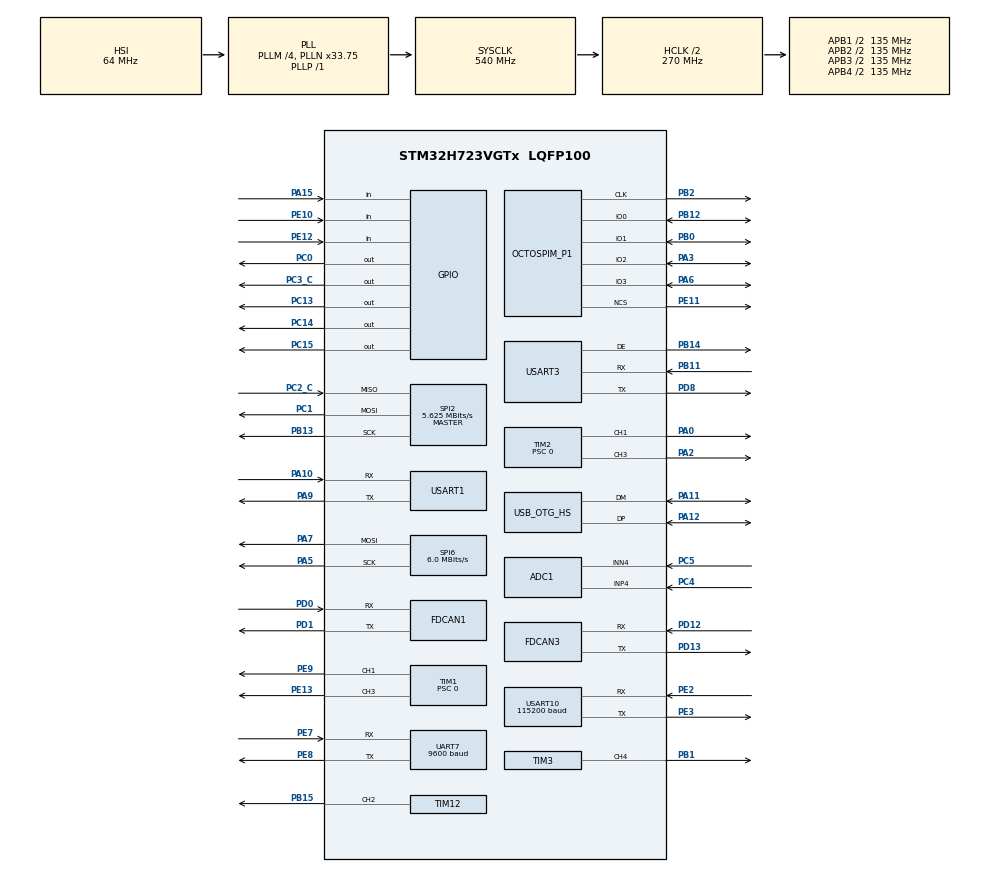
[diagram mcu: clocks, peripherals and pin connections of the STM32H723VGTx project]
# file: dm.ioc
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ADC1.Channel-0\#ChannelRegularConversion=ADC_CHANNEL_4
ADC1.NbrOfConversionFlag=1
ADC1.OffsetNumber-0\#ChannelRegularConversion=ADC_OFFSET_NONE
ADC1.OffsetSignedSaturation-0\#ChannelRegularConversion=DISABLE
ADC1.Rank-0\#ChannelRegularConversion=1
ADC1.SamplingTime-0\#ChannelRegularConversion=ADC_SAMPLETIME_1CYCLE_5
ADC1.ScanConvMode-ADC_Settings=ADC_SCAN_ENABLE
ADC1.SingleDiff-0\#ChannelRegularConversion=ADC_DIFFERENTIAL_ENDED
ADC1.master=1
CORTEX_M7.default_mode_Activation=1
Dma.Request0=TIM1_CH1
Dma.Request1=TIM1_CH3
Dma.Request2=TIM2_CH1
Dma.Request3=TIM2_CH3
Dma.TIM1_CH1.0.Direction=DMA_MEMORY_TO_PERIPH
Dma.TIM1_CH1.0.EventEnable=DISABLE
Dma.TIM1_CH1.0.FIFOMode=DMA_FIFOMODE_ENABLE
Dma.TIM1_CH1.0.FIFOThreshold=DMA_FIFO_THRESHOLD_FULL
Dma.TIM1_CH1.0.Instance=DMA1_Stream0
Dma.TIM1_CH1.0.MemBurst=DMA_MBURST_SINGLE
Dma.TIM1_CH1.0.MemDataAlignment=DMA_MDATAALIGN_WORD
Dma.TIM1_CH1.0.MemInc=DMA_MINC_ENABLE
Dma.TIM1_CH1.0.Mode=DMA_NORMAL
Dma.TIM1_CH1.0.PeriphBurst=DMA_PBURST_SINGLE
Dma.TIM1_CH1.0.PeriphDataAlignment=DMA_PDATAALIGN_WORD
Dma.TIM1_CH1.0.PeriphInc=DMA_PINC_DISABLE
Dma.TIM1_CH1.0.Polarity=HAL_DMAMUX_REQ_GEN_RISING
Dma.TIM1_CH1.0.Priority=DMA_PRIORITY_LOW
Dma.TIM1_CH1.0.RequestNumber=1
Dma.TIM1_CH1.0.SignalID=NONE
Dma.TIM1_CH1.0.SyncEnable=DISABLE
Dma.TIM1_CH1.0.SyncPolarity=HAL_DMAMUX_SYNC_NO_EVENT
Dma.TIM1_CH1.0.SyncRequestNumber=1
Dma.TIM1_CH1.0.SyncSignalID=NONE
Dma.TIM1_CH3.1.Direction=DMA_MEMORY_TO_PERIPH
Dma.TIM1_CH3.1.EventEnable=DISABLE
Dma.TIM1_CH3.1.FIFOMode=DMA_FIFOMODE_ENABLE
Dma.TIM1_CH3.1.FIFOThreshold=DMA_FIFO_THRESHOLD_FULL
Dma.TIM1_CH3.1.Instance=DMA1_Stream1
Dma.TIM1_CH3.1.MemBurst=DMA_MBURST_SINGLE
Dma.TIM1_CH3.1.MemDataAlignment=DMA_MDATAALIGN_WORD
Dma.TIM1_CH3.1.MemInc=DMA_MINC_ENABLE
Dma.TIM1_CH3.1.Mode=DMA_NORMAL
Dma.TIM1_CH3.1.PeriphBurst=DMA_PBURST_SINGLE
Dma.TIM1_CH3.1.PeriphDataAlignment=DMA_PDATAALIGN_WORD
Dma.TIM1_CH3.1.PeriphInc=DMA_PINC_DISABLE
Dma.TIM1_CH3.1.Polarity=HAL_DMAMUX_REQ_GEN_RISING
Dma.TIM1_CH3.1.Priority=DMA_PRIORITY_LOW
Dma.TIM1_CH3.1.RequestNumber=1
Dma.TIM1_CH3.1.SignalID=NONE
Dma.TIM1_CH3.1.SyncEnable=DISABLE
Dma.TIM1_CH3.1.SyncPolarity=HAL_DMAMUX_SYNC_NO_EVENT
Dma.TIM1_CH3.1.SyncRequestNumber=1
Dma.TIM1_CH3.1.SyncSignalID=NONE
Dma.TIM2_CH1.2.Direction=DMA_MEMORY_TO_PERIPH
Dma.TIM2_CH1.2.EventEnable=DISABLE
Dma.TIM2_CH1.2.FIFOMode=DMA_FIFOMODE_ENABLE
Dma.TIM2_CH1.2.FIFOThreshold=DMA_FIFO_THRESHOLD_FULL
Dma.TIM2_CH1.2.Instance=DMA1_Stream2
Dma.TIM2_CH1.2.MemBurst=DMA_MBURST_SINGLE
Dma.TIM2_CH1.2.MemDataAlignment=DMA_MDATAALIGN_WORD
Dma.TIM2_CH1.2.MemInc=DMA_MINC_ENABLE
Dma.TIM2_CH1.2.Mode=DMA_NORMAL
Dma.TIM2_CH1.2.PeriphBurst=DMA_PBURST_SINGLE
Dma.TIM2_CH1.2.PeriphDataAlignment=DMA_PDATAALIGN_WORD
Dma.TIM2_CH1.2.PeriphInc=DMA_PINC_DISABLE
Dma.TIM2_CH1.2.Polarity=HAL_DMAMUX_REQ_GEN_RISING
Dma.TIM2_CH1.2.Priority=DMA_PRIORITY_LOW
Dma.TIM2_CH1.2.RequestNumber=1
Dma.TIM2_CH1.2.SignalID=NONE
Dma.TIM2_CH1.2.SyncEnable=DISABLE
Dma.TIM2_CH1.2.SyncPolarity=HAL_DMAMUX_SYNC_NO_EVENT
Dma.TIM2_CH1.2.SyncRequestNumber=1
Dma.TIM2_CH1.2.SyncSignalID=NONE
Dma.TIM2_CH3.3.Direction=DMA_MEMORY_TO_PERIPH
Dma.TIM2_CH3.3.EventEnable=DISABLE
Dma.TIM2_CH3.3.FIFOMode=DMA_FIFOMODE_ENABLE
Dma.TIM2_CH3.3.FIFOThreshold=DMA_FIFO_THRESHOLD_FULL
Dma.TIM2_CH3.3.Instance=DMA1_Stream3
Dma.TIM2_CH3.3.MemBurst=DMA_MBURST_SINGLE
Dma.TIM2_CH3.3.MemDataAlignment=DMA_MDATAALIGN_WORD
Dma.TIM2_CH3.3.MemInc=DMA_MINC_ENABLE
Dma.TIM2_CH3.3.Mode=DMA_NORMAL
Dma.TIM2_CH3.3.PeriphBurst=DMA_PBURST_SINGLE
Dma.TIM2_CH3.3.PeriphDataAlignment=DMA_PDATAALIGN_WORD
Dma.TIM2_CH3.3.PeriphInc=DMA_PINC_DISABLE
Dma.TIM2_CH3.3.Polarity=HAL_DMAMUX_REQ_GEN_RISING
Dma.TIM2_CH3.3.Priority=DMA_PRIORITY_LOW
Dma.TIM2_CH3.3.RequestNumber=1
Dma.TIM2_CH3.3.SignalID=NONE
Dma.TIM2_CH3.3.SyncEnable=DISABLE
Dma.TIM2_CH3.3.SyncPolarity=HAL_DMAMUX_SYNC_NO_EVENT
Dma.TIM2_CH3.3.SyncRequestNumber=1
Dma.TIM2_CH3.3.SyncSignalID=NONE
FDCAN1.CalculateBaudRateNominal=625000
FDCAN1.CalculateTimeBitNominal=1600
FDCAN1.CalculateTimeQuantumNominal=320.0
FDCAN3.CalculateBaudRateNominal=625000
FDCAN3.CalculateTimeBitNominal=1600
FDCAN3.CalculateTimeQuantumNominal=320.0
Mcu.Family=STM32H7
Mcu.Name=STM32H723VGTx
Mcu.Package=LQFP100
NVIC.DMA1_Stream0_IRQn=true\:0\:0\:false\:false\:true\:false\:true\:true
NVIC.DMA1_Stream1_IRQn=true\:0\:0\:false\:false\:true\:false\:true\:true
NVIC.DMA1_Stream2_IRQn=true\:0\:0\:false\:false\:true\:false\:true\:true
NVIC.DMA1_Stream3_IRQn=true\:0\:0\:false\:false\:true\:false\:true\:true
NVIC.OTG_HS_IRQn=true\:2\:0\:true\:false\:true\:false\:true\:true
NVIC.PriorityGroup=NVIC_PRIORITYGROUP_4
NVIC.TIM15_IRQn=true\:0\:0\:true\:false\:true\:true\:true\:true
NVIC.TIM16_IRQn=true\:2\:0\:true\:false\:true\:true\:true\:true
NVIC.TIM17_IRQn=true\:1\:0\:true\:false\:true\:true\:true\:true
NVIC.UART7_IRQn=true\:2\:0\:true\:false\:true\:true\:true\:true
NVIC.USART10_IRQn=true\:1\:0\:true\:false\:true\:true\:true\:true
PA0.Signal=S_TIM2_CH1_ETR
PA10.Mode=Asynchronous
PA10.Signal=USART1_RX
PA11.Mode=Device_Only_FS
PA11.Signal=USB_OTG_HS_DM
PA12.Mode=Device_Only_FS
PA12.Signal=USB_OTG_HS_DP
PA13(JTMS/SWDIO).Mode=Serial_Wire
PA13(JTMS/SWDIO).Signal=DEBUG_JTMS-SWDIO
PA14(JTCK/SWCLK).Mode=Serial_Wire
PA14(JTCK/SWCLK).Signal=DEBUG_JTCK-SWCLK
PA15(JTDI).Signal=GPIO_Input
PA2.Signal=S_TIM2_CH3
PA3.Mode=OCTOSPI2_IOL_Port1L
PA3.Signal=OCTOSPIM_P1_IO2
PA5.Mode=TX_Only_Simplex_Unidirect_Master
PA5.Signal=SPI6_SCK
PA6.Mode=OCTOSPI2_IOL_Port1L
PA6.Signal=OCTOSPIM_P1_IO3
PA7.Mode=TX_Only_Simplex_Unidirect_Master
PA7.Signal=SPI6_MOSI
PA9.Mode=Asynchronous
PA9.Signal=USART1_TX
PB0.Mode=OCTOSPI2_IOL_Port1L
PB0.Signal=OCTOSPIM_P1_IO1
PB1.Signal=S_TIM3_CH4
PB11.Mode=Asynchronous
PB11.Signal=USART3_RX
PB12.Mode=OCTOSPI2_IOL_Port1L
PB12.Signal=OCTOSPIM_P1_IO0
PB13.Mode=Full_Duplex_Master
PB13.Signal=SPI2_SCK
PB14.Mode=Hardware Flow Control (RS485)
PB14.Signal=USART3_DE
PB15.Signal=S_TIM12_CH2
PB2.Mode=O2_P1_CLK
PB2.Signal=OCTOSPIM_P1_CLK
PC0.Signal=GPIO_Output
PC1.Mode=Full_Duplex_Master
PC1.Signal=SPI2_MOSI
PC13.Signal=GPIO_Output
PC14-OSC32_IN.Signal=GPIO_Output
PC15-OSC32_OUT.Signal=GPIO_Output
PC2_C.Mode=Full_Duplex_Master
PC2_C.Signal=SPI2_MISO
PC3_C.Signal=GPIO_Output
PC4.Signal=ADCx_INP4
PC5.Signal=ADCx_INN4
PD0.Mode=FDCAN_Activate
PD0.Signal=FDCAN1_RX
PD1.Mode=FDCAN_Activate
PD1.Signal=FDCAN1_TX
PD12.Mode=FDCAN_Activate
PD12.Signal=FDCAN3_RX
PD13.Mode=FDCAN_Activate
PD13.Signal=FDCAN3_TX
PD8.Mode=Asynchronous
PD8.Signal=USART3_TX
PE10.Signal=GPIO_Input
PE11.Mode=OCTOSPI2_Port1_NCS
PE11.Signal=OCTOSPIM_P1_NCS
PE12.Signal=GPIO_Input
PE13.Signal=S_TIM1_CH3
PE2.Mode=Asynchronous
PE2.Signal=USART10_RX
PE3.Mode=Asynchronous
PE3.Signal=USART10_TX
PE7.Mode=Asynchronous
PE7.Signal=UART7_RX
PE8.Mode=Asynchronous
PE8.Signal=UART7_TX
PE9.Signal=S_TIM1_CH1
PH0-OSC_IN.Mode=HSE-External-Oscillator
PH0-OSC_IN.Signal=RCC_OSC_IN
PH1-OSC_OUT.Mode=HSE-External-Oscillator
PH1-OSC_OUT.Signal=RCC_OSC_OUT
ProjectManager.HeapSize=0x2000
ProjectManager.StackSize=0x10000
ProjectManager.TargetToolchain=MDK-ARM V5.32
RCC.ADCFreq_Value=96000000
RCC.APB1Freq_Value=135000000
RCC.APB2Freq_Value=135000000
RCC.APB3Freq_Value=135000000
RCC.APB4Freq_Value=135000000
RCC.CortexFreq_Value=540000000
RCC.D1PPRE=RCC_APB3_DIV2
RCC.D2PPRE1=RCC_APB1_DIV2
RCC.D2PPRE2=RCC_APB2_DIV2
RCC.D3PPRE=RCC_APB4_DIV2
RCC.DIVM1=4
RCC.DIVM2=4
RCC.DIVN1=33
RCC.DIVN2=12
RCC.DIVP1=1
RCC.DIVQ1=3
RCC.DIVQ2=1
RCC.FDCANCLockSelection=RCC_FDCANCLKSOURCE_HSE
RCC.FLatency-AdvancedSettings=FLASH_LATENCY_3
RCC.HCLKFreq_Value=270000000
RCC.HPRE=RCC_HCLK_DIV2
RCC.HSE_VALUE=50000000
RCC.PLL1_VCI_Range-AdvancedSettings=RCC_PLL1VCIRANGE_0
RCC.PLL1_VCO_SEL-AdvancedSettings=RCC_PLL1VCOMEDIUM
RCC.PLL2FRACN=0
RCC.PLL2_VCI_Range-AdvancedSettings=RCC_PLL2VCIRANGE_0
RCC.PLL2_VCO_SEL-AdvancedSettings=RCC_PLL2VCOMEDIUM
RCC.PLL3FRACN=0
RCC.PLL3_VCI_Range-AdvancedSettings=RCC_PLL3VCIRANGE_3
RCC.PLL3_VCO_SEL-AdvancedSettings=RCC_PLL3VCOWIDE
RCC.PLLFRACN=6144
RCC.SPI6CLockSelection=RCC_SPI6CLKSOURCE_PLL2
RCC.SYSCLKFreq_VALUE=540000000
RCC.SYSCLKSource=RCC_SYSCLKSOURCE_PLLCLK
RCC.USBCLockSelection=RCC_USBCLKSOURCE_HSI48
RCC.USBFreq_Value=48000000
SH.ADCx_INN4.0=ADC1_INN4,IN4-Differential
SH.ADCx_INP4.0=ADC1_INP4,IN4-Differential
SH.S_TIM12_CH2.0=TIM12_CH2,PWM Generation2 CH2
SH.S_TIM1_CH1.0=TIM1_CH1,PWM Generation1 CH1
SH.S_TIM1_CH3.0=TIM1_CH3,PWM Generation3 CH3
SH.S_TIM2_CH1_ETR.0=TIM2_CH1,PWM Generation1 CH1
SH.S_TIM2_CH3.0=TIM2_CH3,PWM Generation3 CH3
SH.S_TIM3_CH4.0=TIM3_CH4,PWM Generation4 CH4
SPI2.BaudRatePrescaler=SPI_BAUDRATEPRESCALER_32
SPI2.CLKPhase=SPI_PHASE_2EDGE
SPI2.CLKPolarity=SPI_POLARITY_HIGH
SPI2.CalculateBaudRate=5.625 MBits/s
SPI2.DataSize=SPI_DATASIZE_8BIT
SPI2.Direction=SPI_DIRECTION_2LINES
SPI2.Mode=SPI_MODE_MASTER
SPI2.VirtualType=VM_MASTER
SPI6.BaudRatePrescaler=SPI_BAUDRATEPRESCALER_32
SPI6.CLKPhase=SPI_PHASE_1EDGE
SPI6.CalculateBaudRate=6.0 MBits/s
SPI6.DataSize=SPI_DATASIZE_8BIT
SPI6.Direction=SPI_DIRECTION_2LINES_TXONLY
SPI6.Mode=SPI_MODE_MASTER
SPI6.VirtualType=VM_MASTER
TIM1.AutoReloadPreload=TIM_AUTORELOAD_PRELOAD_DISABLE
TIM1.Channel-PWM\ Generation1\ CH1=TIM_CHANNEL_1
TIM1.Channel-PWM\ Generation3\ CH3=TIM_CHANNEL_3
TIM1.Period=0
TIM1.Prescaler=0
TIM12.Channel-PWM\ Generation2\ CH2=TIM_CHANNEL_2
TIM12.Period=250-1
TIM12.Prescaler=540-1
TIM15.Period=1000-1
TIM15.Prescaler=270-1
TIM16.AutoReloadPreload=TIM_AUTORELOAD_PRELOAD_ENABLE
TIM16.Period=100-1
TIM16.Prescaler=2250-1
TIM17.AutoReloadPreload=TIM_AUTORELOAD_PRELOAD_ENABLE
TIM17.Period=1000-1
TIM17.Prescaler=180-1
TIM2.AutoReloadPreload=TIM_AUTORELOAD_PRELOAD_DISABLE
TIM2.Channel-PWM\ Generation1\ CH1=TIM_CHANNEL_1
TIM2.Channel-PWM\ Generation3\ CH3=TIM_CHANNEL_3
TIM2.Period=0
TIM2.Prescaler=0
TIM3.Channel-PWM\ Generation4\ CH4=TIM_CHANNEL_4
TIM3.Period=1000-1
TIM3.Prescaler=540-1
UART7.BaudRate=9600
USART1.VirtualMode-Asynchronous=VM_ASYNC
USART10.BaudRate=115200
USART10.VirtualMode=VM_ASYNC
USART3.VirtualMode-Asynchronous=VM_ASYNC
USART3.VirtualMode-Hardware\ Flow\ Control\ (RS485)=VM_ASYNC
USB_DEVICE.CLASS_NAME_HS=CDC
USB_DEVICE.PID_CDC_HS=12345
USB_DEVICE.PRODUCT_STRING_CDC_HS=zht
USB_DEVICE.VID=11111
USB_DEVICE.VirtualMode=Cdc
USB_DEVICE.VirtualModeHS=Cdc_HS
USB_OTG_HS.VirtualMode-Device_Only_FS=Device_Only_FS
VP_CRC_VS_CRC.Mode=CRC_Activate
VP_MEMORYMAP_VS_MEMORYMAP.Mode=CurAppReg
VP_OCTOSPI2_VS_quad.Mode=quad_mode
VP_TIM12_VS_ClockSourceINT.Mode=Internal
VP_TIM13_VS_ClockSourceINT.Mode=Enable_Timer
VP_TIM14_VS_ClockSourceINT.Mode=Enable_Timer
VP_TIM15_VS_ClockSourceINT.Mode=Internal
VP_TIM16_VS_ClockSourceINT.Mode=Enable_Timer
VP_TIM17_VS_ClockSourceINT.Mode=Enable_Timer
VP_TIM1_VS_ClockSourceINT.Mode=Internal
VP_TIM2_VS_ClockSourceINT.Mode=Internal
VP_USB_DEVICE_VS_USB_DEVICE_CDC_HS.Mode=CDC_HS
board=custom

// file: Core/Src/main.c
/* USER CODE BEGIN Header */
/**
  ******************************************************************************
  * @file           : main.c
  * @brief          : Main program body
  ******************************************************************************
  * @attention
  *
  * Copyright (c) 2025 STMicroelectronics.
  * All rights reserved.
  *
  * This software is licensed under terms that can be found in the LICENSE file
  * in the root directory of this software component.
  * If no LICENSE file comes with this software, it is provided AS-IS.
  *
  ******************************************************************************
  */
/* USER CODE END Header */
#include "main.h"
#include "adc.h"
#include "crc.h"
#include "dma.h"
#include "fdcan.h"
#include "memorymap.h"
#include "octospi.h"
#include "spi.h"
#include "tim.h"
#include "usart.h"
#include "usb_device.h"
#include "gpio.h"

/* USER CODE BEGIN Includes */
#include <string.h>
#include "PID.h"
#include "BMI088Middleware.h"
#include "BMI088driver.h"
#include "MahonyAHRS.h"
#include <stdio.h>
#include "CRSF.h"
#include "motor.h"
#include "dshot.h"
#include "ws2812.h"
#include "buzzer.h"
#include "ekf_attitude.h"
#include "usbd_cdc_if.h"
#include "filter_rc_bandpass.h"
#include "mtf01.h"
/* USER CODE END Includes */

/* USER CODE BEGIN PM */
int cotrol_mode=1; //0:sleep 1:speed 2:position
extern float gyro[3], accel[3],temperate;
extern float accel_x, accel_y, accel_z;
extern float gyro_x, gyro_y, gyro_z;
extern float temperate;
char str[230];
uint16_t EMC[18]={0};
uint8_t uartRx[16];
extern uint8_t uartTemp[64];
extern crsf_channels_t rcData;
extern crsfLinkStatistics_t lqData;
extern int  uartUpdate;
PIDController x_speed_pid,x_Angle,y_speed_pid,y_Angle,z_speed_pid,z_Angle,hight_speed_pid,hight_position_pid,x_position_pid,y_position_pid,x_uav_speed_pid,y_uav_speed_pid;
PIDController_Angle pid_angle_speed;
PIDController_Angle pid_angle_position;
PIDController pid_temp;
MahonyAHRS mahonyAHRS;
int bim088_init_state = 0;
int flag=0;
float ch0,ch1,ch2,ch3,ch4,ch5,ch6,ch7,ch8,ch9,ch10,ch11,ch12,ch13,ch14,ch15;
extern float q_gworld[4];
extern float v_gworld[4];
extern float v_body[3];
extern float v_body_lpf[3];
extern uint8_t tx_sreed[11];
int num;
extern uint32_t motor1_dmabuffer[DSHOT_DMA_BUFFER_SIZE];
extern uint32_t motor2_dmabuffer[DSHOT_DMA_BUFFER_SIZE];
extern uint32_t motor3_dmabuffer[DSHOT_DMA_BUFFER_SIZE];
extern uint32_t motor4_dmabuffer[DSHOT_DMA_BUFFER_SIZE];
int Buzzer_hz;
AccelCalibParam accelCalibParam;
extern float a[3];
extern int losstime;
extern uint16_t speed[4];
uint16_t err_speed[4]={0,0,0,0};
uint16_t test_speed[4]={4500,4500,4500,4500};
uint16_t err2_speed[4]={48,48,48,48};
extern bool dshot;
uint16_t speed1[4];
uint8_t u10_rx_data[30];
extern  MICOLINK_PAYLOAD_RANGE_SENSOR_t mtf_01;
extern MICOLINK_MSG_t msg;
extern float angle[3];
FilterRCBandpass bandpass_filter_ax;
FilterRCBandpass bandpass_filter_ay;
FilterRCBandpass bandpass_filter_az;
FilterRCBandpass bandpass_filter_gx;
FilterRCBandpass bandpass_filter_gy;
FilterRCBandpass bandpass_filter_gz;

FilterRCBandstop bandstop_filter_gx;
FilterRCBandstop bandstop_filter_gy;
FilterRCBandstop bandstop_filter_gz;
FilterRCBandstop bandstop_filter_ax;
FilterRCBandstop bandstop_filter_ay;
FilterRCBandstop bandstop_filter_az;

FilterRCBandstop bandstop_filter_gx_2;
FilterRCBandstop bandstop_filter_gy_2;
FilterRCBandstop bandstop_filter_gz_2;
FilterRCBandstop bandstop_filter_ax_2;
FilterRCBandstop bandstop_filter_ay_2;
FilterRCBandstop bandstop_filter_az_2;

FilterRCLowpass lowpass_filter_accel_x;
FilterRCLowpass lowpass_filter_accel_y;
FilterRCLowpass lowpass_filter_accel_z;
FilterRCLowpass lowpass_filter_gyro_x;
FilterRCLowpass lowpass_filter_gyro_y;
FilterRCLowpass lowpass_filter_gyro_z;
FilterRCLowpass lowpass_filter_speed_x;
FilterRCLowpass lowpass_filter_speed_y;
FilterRCLowpass lowpass_filter_speed_z;
MovAvgState mov_avg_speed_x;
MovAvgState mov_avg_speed_y;
MovAvgState mov_avg_speed_z;
float mov_avg_speed_x_buffer[10];
float mov_avg_speed_y_buffer[10];
float mov_avg_speed_z_buffer[10];
MovAvgState msg_speed_x_filter;
MovAvgState msg_speed_y_filter;
MovAvgState msg_speed_z_filter;
float msg_speed_x_filter_buffer[10];
float msg_speed_y_filter_buffer[10];
float msg_speed_z_filter_buffer[10];

extern UAV_xyz word_speed;
extern  UAV_xyz body_speed;
extern UAV_xyz mtf_01_speed;
extern UAV_xyz word_speed2;
extern UAV_xyz word_accle;
extern UAV_xyz body_accle;
extern UAV_xyz UAV_position;
extern UAV_xyz body_speed2;
/* USER CODE END PM */

void SystemClock_Config(void);
void PeriphCommonClock_Config(void);
static void MPU_Config(void);

int main(void)
{

  /* MPU Configuration--------------------------------------------------------*/
  MPU_Config();

  /* MCU Configuration--------------------------------------------------------*/

  /* Reset of all peripherals, Initializes the Flash interface and the Systick. */
  HAL_Init();

  /* Configure the system clock */
  SystemClock_Config();

  /* Configure the peripherals common clocks */
  PeriphCommonClock_Config();

  /* Initialize all configured peripherals */
  MX_GPIO_Init();
  MX_DMA_Init();
  MX_FDCAN1_Init();
  MX_FDCAN3_Init();
  MX_SPI2_Init();
  MX_TIM1_Init();
  MX_TIM2_Init();
  MX_TIM3_Init();
  MX_TIM12_Init();
  MX_TIM13_Init();
  MX_TIM14_Init();
  MX_TIM16_Init();
  MX_TIM17_Init();
  MX_UART7_Init();
  MX_USART3_UART_Init();
  MX_ADC1_Init();
  MX_USART1_UART_Init();
  MX_CRC_Init();
  MX_OCTOSPI2_Init();
  MX_SPI6_Init();
  MX_USB_DEVICE_Init();
  MX_USART10_UART_Init();
  MX_TIM15_Init();
  /* USER CODE BEGIN 2 */
	WS2812_Ctrl(10,0,0);
	float k=0.5;
  PIDController_Init(&x_speed_pid,0.2f, k*14.2f, k*0.0f, k*0.0f, 0.02f, -50.0f, 50.0f, -50.0f, 50.0f, 0.001f);
  PIDController_Init(&y_speed_pid,0.2f, k*17.2f, k*0.0f, k*0.0f, 0.02f, -50.0f, 50.0f, -50.0f, 50.0f, 0.001f);
  PIDController_Init(&z_speed_pid,0.5f, 50.0f, 0.0f, 0.0f, 0.02f, -30.0f, 30.0f, -5.0f, 5.0f, 0.001f);

  PIDController_Init(&x_Angle,7.0f, 7.0f, 0.0f, 1.0f, 0.01f, -10.0f, 10.0f, -2.5f, 2.5f, 0.001f);
  PIDController_Init(&y_Angle,7.0f, 7.0f, 0.0f, 1.0f, 0.01f, -10.0f, 10.0f, -2.5f, 2.5f, 0.001f);
  PIDController_Init(&z_Angle,0.0f, 0.0f, 0.0f, 0.0f, 0.01f, -10.0f, 10.0f, -3.0f, 3.0f, 0.001f);

  PIDTemp_Init(&pid_temp, 70.0f, 0.01f, 0.0f, 0.01f, 0.0f, 100.0f, 0.0f, 100.0f, 0.001f);

  PIDController_Init(&hight_position_pid,1000.0f, 0.0f, 0.0f, 0.0001f, 0.02f, -50.0f, 50.0f,-50.0f, 50.0f, 0.001f);
  PIDController_Init(&hight_speed_pid,0.5f, 15.2f, 0.0f, 0.0f, 0.02f, -50.0f, 50.0f, -5.0f, 5.0f, 0.001f);
	PIDController_Init(&x_uav_speed_pid,0.0f, 0.1f, 0.000f, 0.0f, 0.02f, -15.0f/180.0f*3.14f, 15.0f/180.0f*3.14f, -2.0f/180.0f*3.14f, 2.0f/180.0f*3.14f, 0.001f);
  PIDController_Init(&y_uav_speed_pid,0.0f,0.1f, 0.000f, 0.0f, 0.02f, -15.0f/180.0f*3.14f, 15.0f/180.0f*3.14f, -2.0f/180.0f*3.14f, 2.0f/180.0f*3.14f, 0.001f);
  PIDController_Init(&x_position_pid,0.2f, 0.0f, 0.0f, 0.0f, 0.02f, -20.0f, 20.0f, -5.0f, 5.0f, 0.001f);
  PIDController_Init(&y_position_pid,0.2f, 0.0f, 0.0f, 0.0f, 0.02f, -20.0f, 20.0f, -5.0f, 5.0f, 0.001f);

  filter_rc_bandstop_init(&bandstop_filter_ax, 1500.0f, 100.0f, 200.0f);
  filter_rc_bandstop_init(&bandstop_filter_ay, 1500.0f, 100.0f, 200.0f);
  filter_rc_bandstop_init(&bandstop_filter_az, 1500.0f, 100.0f, 200.0f);
  filter_rc_bandstop_init(&bandstop_filter_ax_2, 1500.0f, 600.0f, 700.0f);
  filter_rc_bandstop_init(&bandstop_filter_ay_2, 1500.0f, 600.0f, 700.0f);
  filter_rc_bandstop_init(&bandstop_filter_az_2, 1500.0f, 600.0f, 700.0f);
  filter_rc_bandstop_init(&bandstop_filter_gx, 1500.0f, 100.0f, 200.0f);
  filter_rc_bandstop_init(&bandstop_filter_gy, 1500.0f, 100.0f, 200.0f);
  filter_rc_bandstop_init(&bandstop_filter_gz, 1500.0f, 100.0f, 200.0f);

  filter_rc_lowpass_init(&lowpass_filter_accel_x, 1500.0f, 800.0f);
  filter_rc_lowpass_init(&lowpass_filter_accel_y, 1500.0f, 800.0f);
  filter_rc_lowpass_init(&lowpass_filter_accel_z, 1500.0f, 800.0f);
  filter_rc_lowpass_init(&lowpass_filter_gyro_x, 1500.0f, 850.0f);
  filter_rc_lowpass_init(&lowpass_filter_gyro_y, 1500.0f, 850.0f);
  filter_rc_lowpass_init(&lowpass_filter_gyro_z, 1500.0f, 850.0f);
  filter_rc_lowpass_init(&lowpass_filter_speed_x, 1200.0f, 1000.0f);
  filter_rc_lowpass_init(&lowpass_filter_speed_y, 1200.0f, 1000.0f);
  filter_rc_lowpass_init(&lowpass_filter_speed_z, 1200.0f, 1000.0f);
  movavg_init(&mov_avg_speed_x, mov_avg_speed_x_buffer, 3);
  movavg_init(&mov_avg_speed_y, mov_avg_speed_y_buffer, 3);
  movavg_init(&mov_avg_speed_z, mov_avg_speed_z_buffer, 10);
  movavg_init(&msg_speed_x_filter, msg_speed_x_filter_buffer, 3);
  movavg_init(&msg_speed_y_filter, msg_speed_y_filter_buffer, 3);
  movavg_init(&msg_speed_z_filter, msg_speed_z_filter_buffer, 3);
  MahonyAHRS_init(&mahonyAHRS);
	bim088_init_state=1;
 while(bim088_init_state)
    {
        bim088_init_state=BMI088_init();
    }

//	 calibrate_accel_six_position_test(&accelCalibParam);

//dshot_init(DSHOT300);
HAL_TIM_Base_Init(&htim16);
HAL_TIM_Base_Start_IT(&htim16);
HAL_TIM_Base_Init(&htim17);
HAL_TIM_Base_Start_IT(&htim17);
HAL_TIM_Base_Init(&htim15);
HAL_TIM_Base_Start_IT(&htim15);
HAL_UART_Receive_IT(&huart7, uartRx, 16);
HAL_UART_Receive_IT(&huart10, u10_rx_data,1);
//HAL_TIM_PWM_Start(&htim3, TIM_CHANNEL_4);
//HAL_TIM_PWM_Start(&htim12, TIM_CHANNEL_2);
esc_init(PWM);
HAL_GPIO_WritePin(GPIOC,GPIO_PIN_15,1);
WS2812_Ctrl(10,0,10);

//  HAL_GPIO_WritePin(GPIOC,GPIO_PIN_15,1);
  /* USER CODE END 2 */

  /* Infinite loop */
  while (1)
  {

    /* USER CODE BEGIN 3 */

				if (uartUpdate)
	{
		uartUpdate = 0;
		//crsfLinkStatistics_t lqData;
		if (CRSF_RC(uartTemp, &rcData))
		{
		}
    if (CRSF_LQ(uartTemp, &lqData))
		{
		}
	}

		if (lqData.uplink_Link_quality>10&&losstime<90)
		{
      flag=1;
      ch0=((int)rcData.ch0-174)*100/(1811-174);
      ch1=((int)rcData.ch1-174)*100/(1811-174);
			ch2=((int)rcData.ch2-174)*100/(1811-174);
      ch3=((int)rcData.ch3-174)*100/(1811-174);
      ch4=((int)rcData.ch4-174)*100/(1811-174);
      ch5=((int)rcData.ch5-174)*100/(1811-174);
      ch6=((int)rcData.ch6-174)*100/(1811-174);
      ch7=((int)rcData.ch7-174)*100/(1811-174);
      ch8=((int)rcData.ch8-174)*100/(1811-174);
      ch9=((int)rcData.ch9-174)*100/(1811-174);
      ch10=((int)rcData.ch10-174)*100/(1811-174);
      ch11=((int)rcData.ch11-174)*100/(1811-174);
      ch12=((int)rcData.ch12-174)*100/(1811-174);
      ch13=((int)rcData.ch13-174)*100/(1811-174);
      ch14=((int)rcData.ch14-174)*100/(1811-174);
      ch15=((int)rcData.ch15-174)*100/(1811-174);
      if(ch7>90)
      {
        cotrol_mode=2;
      }else if(ch7<90&&ch7>10)
      {
        cotrol_mode=1;
      }else
      {
        cotrol_mode=0;
      }

      if(ch6>90)
      {
//				if(ch4>90)
//			{WS2812_Ctrl(10,10,10);
//				if(dshot==false)
//				{
//					test_speed[0]=1200;
//				esc_set_speed(test_speed);
//				HAL_Delay(1000);
//				test_speed[0]=900;
//				esc_set_speed(test_speed);
//				HAL_Delay(1000);
//				test_speed[1]=1200;
//				esc_set_speed(test_speed);
//				HAL_Delay(1000);
//				test_speed[1]=900;
//				esc_set_speed(test_speed);
//				HAL_Delay(1000);
//				test_speed[2]=1200;
//				esc_set_speed(test_speed);
//				HAL_Delay(1000);
//				test_speed[2]=900;
//				esc_set_speed(test_speed);
//				HAL_Delay(1000);
//				test_speed[3]=1200;
//				esc_set_speed(test_speed);
//				HAL_Delay(1000);
//				test_speed[3]=900;
//				esc_set_speed(test_speed);
//				HAL_Delay(1000);
//        PID_Reset(&x_speed_pid);
//        PID_Reset(&y_speed_pid);
//        PID_Reset(&z_speed_pid);
//				}

//			}else
//			{
//				WS2812_Ctrl(0,10,0);
//				if(dshot==false)
//				{
//					esc_set_speed(speed);
//				}else
//				{
//
//					dshot_write(speed);
//				}

//			}

			WS2812_Ctrl(0,10,0);
				if(dshot==false)
				{
					esc_set_speed(speed);
				}else
				{

					dshot_write(speed);
				}

      }
			else
      {
        WS2812_Ctrl(10,10,0);
        PID_Reset(&x_speed_pid);
        PID_Reset(&y_speed_pid);
        PID_Reset(&z_speed_pid);
				 PID_Reset(&x_speed_pid);
   PID_Reset(&y_speed_pid);
    PID_Reset(&z_speed_pid);
		  PID_Reset(&x_Angle);
   PID_Reset(&y_Angle);
    PID_Reset(&z_Angle);

				if(dshot==false)
				{
					esc_set_speed(err_speed);

				}else
				{

					dshot_write(err2_speed);
				}

      }

		}else if(losstime>450)
		{
	  WS2812_Ctrl(0,0,10);
    ch0=50;
    ch1=50;
    ch2=0;
    ch3=50;
    ch4=0;
    ch5=0;
    ch6=0;
    ch7=0;
    ch8=0;
    ch9=0;
    ch10=0;
    ch11=0;
    ch12=0;
    ch13=0;
    ch14=0;
    ch15=0;

HAL_UART_Receive_IT(&huart7, uartRx, 16);
    PID_Reset(&x_speed_pid);
   PID_Reset(&y_speed_pid);
    PID_Reset(&z_speed_pid);
		  PID_Reset(&x_Angle);
   PID_Reset(&y_Angle);
    PID_Reset(&z_Angle);
			if(dshot==false)
				{
					esc_set_speed(err_speed);
				}else
				{

					dshot_write(err2_speed);
				}

		}

//		HAL_UART_Transmit(&huart1, (uint8_t*)uartTemp, 64, 0xff);
//				sprintf(str,"------------------------\r\n");
//				HAL_UART_Transmit(&huart1, (uint8_t*)str, strlen(str), 0xff);

//				sprintf(str,"samples:%.6f,%.6f,%.6f\n",accel_x, accel_y, accel_z);
//				HAL_UART_Transmit(&huart1, (uint8_t*)str, strlen(str), 0xff);

//				sprintf(str, "samples:%.6f,%.6f,%.6f\n", gyro_x, gyro_y, gyro_z);
//				HAL_UART_Transmit(&huart1, (uint8_t*)str, strlen(str), 0xff);
//				sprintf(str, "temperate: %.2f\r\n", temperate);
//				HAL_UART_Transmit(&huart1, (uint8_t*)str, strlen(str), 0xff);
//    sprintf(str,"------------------------\r\n");
//    HAL_UART_Transmit(&huart1, (uint8_t*)str, strlen(str), 0xff);

//    sprintf(str, "samples::%.6f,%.6f,%.6f\n", mahonyAHRS.roll, mahonyAHRS.pitch, mahonyAHRS.yaw);
//    HAL_UART_Transmit(&huart1, (uint8_t*)str, strlen(str), 0xff);
//    sprintf(str,"q0: %.2f, q1: %.2f, q2: %.2f, q3: %.2f\r\n", mahonyAHRS.q0, mahonyAHRS.q1, mahonyAHRS.q2, mahonyAHRS.q3);
//    HAL_UART_Transmit(&huart1, (uint8_t*)str, strlen(str), 0xff);
//    sprintf(str, "temperate: %.2f pid_temp: %.2f\r\n", temperate, pid_temp.out);
//    HAL_UART_Transmit(&huart1, (uint8_t*)str, strlen(str), 0xff);
//    sprintf(str,"------------------------\r\n");

//    sprintf(str,"LQ: %d, RSSI1: %d, RSSI2: %d\r\n", lqData.uplink_Link_quality, lqData.uplink_RSSI_1, lqData.uplink_RSSI_2);
//    HAL_UART_Transmit(&huart1, (uint8_t*)str, strlen(str), 0xff);
//    sprintf(str,"bim088_init_state: %d\r\n", bim088_init_state);
//    HAL_UART_Transmit(&huart1, (uint8_t*)str, strlen(str), 0xff);

//		sprintf(str,"pid_angle_speed: %.2f, %.2f, %.2f\r\n", pid_angle_speed.x_out, pid_angle_speed.y_out, pid_angle_speed.z_out);
//    HAL_UART_Transmit(&huart1, (uint8_t*)str, strlen(str), 0xff);s
//
//			sprintf(str,"ch1: %d, ch2: %d, ch3: %d, ch4: %d\r\n", rcData.ch0, rcData.ch1, rcData.ch2, rcData.ch3);
//  		HAL_UART_Transmit(&huart1, (uint8_t*)str, strlen(str), 0xff);

//    sprintf(str,"gx: %f, gy: %f, gz: %f\r\n", v_gworld[0], v_gworld[1], v_gworld[2]);
//    HAL_UART_Transmit(&huart1, (uint8_t*)str, strlen(str), 0xff);
//     sprintf(str,"gx: %f, gy: %f, gz: %f\r\n", v_body_lpf[0], v_body_lpf[1], v_body_lpf[2]);
//     HAL_UART_Transmit(&huart1, (uint8_t*)str, strlen(str), 0xff);
//    sprintf(str,"vx: %f, vy: %f, vz: %f\r\n", v_body[0], v_body[1], v_body[2]);
//    HAL_UART_Transmit(&huart1, (uint8_t*)str, strlen(str), 0xff);
//    HAL_UART_Transmit(&huart1, (uint8_t*)tx_sreed, 12, 0xff);

//      sprintf(str,"losstime: %d\r\n", losstime);
//      HAL_UART_Transmit(&huart1, (uint8_t*)str, strlen(str), 0xff);
//      sprintf(str,"speed::%d,%d,%d,%d\n", speed[0], speed[1], speed[2], speed[3]);
//      HAL_UART_Transmit(&huart1, (uint8_t*)str, strlen(str), 0xff);
//      sprintf(str,"ch: %.2f, %.2f, %.2f, %.2f, %.2f, %.2f, %.2f, %.2f\r\n", (ch0-50.0f)/10.0f,ch1,ch2,ch3,ch4,ch5,ch6,ch7);
//      HAL_UART_Transmit(&huart1, (uint8_t*)str, strlen(str), 0xff);
//      sprintf(str,"ch: %.2f, %.2f, %.2f, %.2f, %.2f, %.2f, %.2f, %.2f\r\n", ch8,ch9,ch10,ch11,ch12,ch13,ch14,ch15);
//      HAL_UART_Transmit(&huart1, (uint8_t*)str, strlen(str), 0xff);
//sprintf(str,"accel_correct: %.2f, %.2f, %.2f\r\n", a[0], a[1], a[2]);
//HAL_UART_Transmit(&huart1, (uint8_t*)str, strlen(str), 0xff);
//sprintf(str,"pid_speed::%.6f,%.6f,%.6f\n", x_speed_pid.out, y_speed_pid.out, z_speed_pid.out);
//HAL_UART_Transmit(&huart1, (uint8_t*)str, strlen(str), 0xff);
sprintf(str,"data:%d,%d,%d,%d,%.6f,%.6f,%.6f,%.6f,%.6f,%.6f,%.6f,%.6f,%.6f,%.6f,%.6f,%.6f,%.6f,%f,%f,%f,%f,%.3f,%.3f,%f,%f\n",speed[0], speed[1], speed[2], speed[3],accel_x, accel_y, accel_z, gyro_x, gyro_y, gyro_z,mahonyAHRS.roll,mahonyAHRS.pitch, mahonyAHRS.yaw,angle[0],angle[1],angle[2],mahonyAHRS.q0,mahonyAHRS.q1,mahonyAHRS.q2,mahonyAHRS.q3,y_Angle.out,body_speed2.x,body_speed2.y,x_uav_speed_pid.out,y_uav_speed_pid.out);
//HAL_UART_Transmit(&huart10, (uint8_t*)str, strlen(str), 0xff);
//sprintf(str,"data:%d,%d,%d,%d,%x,%d,%d\angle,mtf_01.distance,mtf_01.flow_vel_x,mtf_01.flow_vel_y,msg.status,u10_rx_data[0],msg.len,mtf_01.time_ms);
//sprintf(str,"data:,%.6f,%.6f,%.6f,%.6f,%.6f,%.6f,%.6f,%.6f,%.6f,%.6f,%.6f,%.6f\n",gyro[0],gyro[1],gyro[2],accel[0],accel[1],accel[2],accel_x, accel_y, accel_z, gyro_x, gyro_y, gyro_z);
//sprintf(str,"data:,%.6f,%.6f,%.6f,%.6f,%.6f,%.6f,%.6f,%.6f,%.6f,%.6f,%.6f,%.6f,%.6f,%.6f,%.6f,%.6f,%.6f,%.6f\n",gyro[0],gyro[1],gyro[2],accel[0],accel[1],accel[2],accel_x, accel_y, accel_z, gyro_x, gyro_y, gyro_z,word_speed.x,word_speed.y,word_speed.z,mtf_01_speed.x,mtf_01_speed.y,mtf_01_speed.z);
//sprintf(str,"accel_correct: %.2f, %.2f, %.2f\r\n", angle[0], angle[1], angle[2]);

//  sprintf(str,"accel_correct:%f,%f,%f\r\n",word_accle.x,word_accle.y,word_accle.z);
 //sprintf(str,"accel_correct:%f,%f,%f,%d,%d,%f,%f,%f,%f,%f,%f\n",word_speed2.x*100,word_speed2.y*100,word_speed2.z*100,mtf_01.strength,mtf_01.flow_quality,UAV_position.x,UAV_position.y,UAV_position.z,body_speed2.x*100,body_speed2.y*100,body_speed2.z*100);
HAL_UART_Transmit(&huart1, (uint8_t*)str, strlen(str), 0xff);
//CDC_Transmit_HS((uint8_t*)str, strlen(str));

}
  /* USER CODE END 3 */
}

void SystemClock_Config(void)
{
  RCC_OscInitTypeDef RCC_OscInitStruct = {0};
  RCC_ClkInitTypeDef RCC_ClkInitStruct = {0};

  /** Supply configuration update enable
  */
  HAL_PWREx_ConfigSupply(PWR_LDO_SUPPLY);

  /** Configure the main internal regulator output voltage
  */
  __HAL_PWR_VOLTAGESCALING_CONFIG(PWR_REGULATOR_VOLTAGE_SCALE0);

  while(!__HAL_PWR_GET_FLAG(PWR_FLAG_VOSRDY)) {}

  /** Initializes the RCC Oscillators according to the specified parameters
  * in the RCC_OscInitTypeDef structure.
  */
  RCC_OscInitStruct.OscillatorType = RCC_OSCILLATORTYPE_HSI48|RCC_OSCILLATORTYPE_HSI
                              |RCC_OSCILLATORTYPE_HSE;
  RCC_OscInitStruct.HSEState = RCC_HSE_ON;
  RCC_OscInitStruct.HSIState = RCC_HSI_DIV1;
  RCC_OscInitStruct.HSICalibrationValue = 64;
  RCC_OscInitStruct.HSI48State = RCC_HSI48_ON;
  RCC_OscInitStruct.PLL.PLLState = RCC_PLL_ON;
  RCC_OscInitStruct.PLL.PLLSource = RCC_PLLSOURCE_HSI;
  RCC_OscInitStruct.PLL.PLLM = 4;
  RCC_OscInitStruct.PLL.PLLN = 33;
  RCC_OscInitStruct.PLL.PLLP = 1;
  RCC_OscInitStruct.PLL.PLLQ = 3;
  RCC_OscInitStruct.PLL.PLLR = 2;
  RCC_OscInitStruct.PLL.PLLRGE = RCC_PLL1VCIRANGE_3;
  RCC_OscInitStruct.PLL.PLLVCOSEL = RCC_PLL1VCOWIDE;
  RCC_OscInitStruct.PLL.PLLFRACN = 6144;
  if (HAL_RCC_OscConfig(&RCC_OscInitStruct) != HAL_OK)
  {
    Error_Handler();
  }

  /** Initializes the CPU, AHB and APB buses clocks
  */
  RCC_ClkInitStruct.ClockType = RCC_CLOCKTYPE_HCLK|RCC_CLOCKTYPE_SYSCLK
                              |RCC_CLOCKTYPE_PCLK1|RCC_CLOCKTYPE_PCLK2
                              |RCC_CLOCKTYPE_D3PCLK1|RCC_CLOCKTYPE_D1PCLK1;
  RCC_ClkInitStruct.SYSCLKSource = RCC_SYSCLKSOURCE_PLLCLK;
  RCC_ClkInitStruct.SYSCLKDivider = RCC_SYSCLK_DIV1;
  RCC_ClkInitStruct.AHBCLKDivider = RCC_HCLK_DIV2;
  RCC_ClkInitStruct.APB3CLKDivider = RCC_APB3_DIV2;
  RCC_ClkInitStruct.APB1CLKDivider = RCC_APB1_DIV2;
  RCC_ClkInitStruct.APB2CLKDivider = RCC_APB2_DIV2;
  RCC_ClkInitStruct.APB4CLKDivider = RCC_APB4_DIV2;

  if (HAL_RCC_ClockConfig(&RCC_ClkInitStruct, FLASH_LATENCY_3) != HAL_OK)
  {
    Error_Handler();
  }
}

void PeriphCommonClock_Config(void)
{
  RCC_PeriphCLKInitTypeDef PeriphClkInitStruct = {0};

  /** Initializes the peripherals clock
  */
  PeriphClkInitStruct.PeriphClockSelection = RCC_PERIPHCLK_SPI6|RCC_PERIPHCLK_ADC;
  PeriphClkInitStruct.PLL2.PLL2M = 4;
  PeriphClkInitStruct.PLL2.PLL2N = 12;
  PeriphClkInitStruct.PLL2.PLL2P = 2;
  PeriphClkInitStruct.PLL2.PLL2Q = 1;
  PeriphClkInitStruct.PLL2.PLL2R = 2;
  PeriphClkInitStruct.PLL2.PLL2RGE = RCC_PLL2VCIRANGE_3;
  PeriphClkInitStruct.PLL2.PLL2VCOSEL = RCC_PLL2VCOWIDE;
  PeriphClkInitStruct.PLL2.PLL2FRACN = 0;
  PeriphClkInitStruct.AdcClockSelection = RCC_ADCCLKSOURCE_PLL2;
  PeriphClkInitStruct.Spi6ClockSelection = RCC_SPI6CLKSOURCE_PLL2;
  if (HAL_RCCEx_PeriphCLKConfig(&PeriphClkInitStruct) != HAL_OK)
  {
    Error_Handler();
  }
}

 /* MPU Configuration */

void MPU_Config(void)
{
  MPU_Region_InitTypeDef MPU_InitStruct = {0};

  /* Disables the MPU */
  HAL_MPU_Disable();

  /** Initializes and configures the Region and the memory to be protected
  */
  MPU_InitStruct.Enable = MPU_REGION_ENABLE;
  MPU_InitStruct.Number = MPU_REGION_NUMBER0;
  MPU_InitStruct.BaseAddress = 0x0;
  MPU_InitStruct.Size = MPU_REGION_SIZE_4GB;
  MPU_InitStruct.SubRegionDisable = 0x87;
  MPU_InitStruct.TypeExtField = MPU_TEX_LEVEL0;
  MPU_InitStruct.AccessPermission = MPU_REGION_NO_ACCESS;
  MPU_InitStruct.DisableExec = MPU_INSTRUCTION_ACCESS_DISABLE;
  MPU_InitStruct.IsShareable = MPU_ACCESS_SHAREABLE;
  MPU_InitStruct.IsCacheable = MPU_ACCESS_NOT_CACHEABLE;
  MPU_InitStruct.IsBufferable = MPU_ACCESS_NOT_BUFFERABLE;

  HAL_MPU_ConfigRegion(&MPU_InitStruct);
  /* Enables the MPU */
  HAL_MPU_Enable(MPU_PRIVILEGED_DEFAULT);

}

void Error_Handler(void)
{
  __disable_irq();
  while (1)
  {
  }
}
